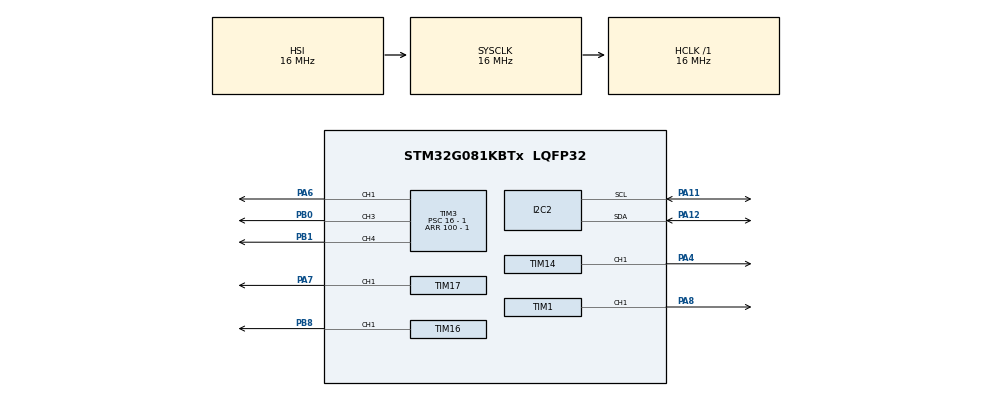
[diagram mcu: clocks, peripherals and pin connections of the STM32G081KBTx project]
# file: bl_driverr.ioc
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Mcu.Family=STM32G0
Mcu.Name=STM32G081KBTx
Mcu.Package=LQFP32
NVIC.I2C2_IRQn=true\:0\:0\:false\:false\:true\:true\:true\:true
NVIC.TIM14_IRQn=true\:0\:0\:false\:false\:true\:true\:true\:true
NVIC.TIM16_IRQn=true\:0\:0\:false\:false\:true\:true\:true\:true
NVIC.TIM17_IRQn=true\:0\:0\:false\:false\:true\:true\:true\:true
NVIC.TIM1_BRK_UP_TRG_COM_IRQn=true\:0\:0\:false\:false\:true\:true\:true\:true
NVIC.TIM1_CC_IRQn=true\:0\:0\:false\:false\:true\:true\:true\:true
NVIC.TIM3_IRQn=true\:0\:0\:false\:false\:true\:true\:true\:true
PA11\ [PA9].Mode=I2C
PA11\ [PA9].Signal=I2C2_SCL
PA12\ [PA10].Mode=I2C
PA12\ [PA10].Signal=I2C2_SDA
PA4.Signal=S_TIM14_CH1
PA6.Signal=S_TIM3_CH1
PA7.Signal=S_TIM17_CH1
PA8.Signal=S_TIM1_CH1
PB0.Signal=S_TIM3_CH3
PB1.Signal=S_TIM3_CH4
PB8.Signal=S_TIM16_CH1
ProjectManager.HeapSize=0x200
ProjectManager.StackSize=0x400
ProjectManager.TargetToolchain=STM32CubeIDE
RCC.AHBFreq_Value=16000000
RCC.CortexFreq_Value=16000000
RCC.EXTERNAL_CLOCK_VALUE=48000
RCC.HCLKFreq_Value=16000000
RCC.HSE_VALUE=8000000
RCC.HSI_VALUE=16000000
RCC.LSE_VALUE=32768
RCC.SYSCLKFreq_VALUE=16000000
RCC.VCOOutputFreq_Value=128000000
SH.S_TIM14_CH1.0=TIM14_CH1,PWM Generation1 CH1
SH.S_TIM16_CH1.0=TIM16_CH1,PWM Generation1 CH1
SH.S_TIM17_CH1.0=TIM17_CH1,PWM Generation1 CH1
SH.S_TIM1_CH1.0=TIM1_CH1,PWM Generation1 CH1
SH.S_TIM3_CH1.0=TIM3_CH1,PWM Generation1 CH1
SH.S_TIM3_CH3.0=TIM3_CH3,PWM Generation3 CH3
SH.S_TIM3_CH4.0=TIM3_CH4,PWM Generation4 CH4
TIM1.Channel-PWM\ Generation1\ CH1=TIM_CHANNEL_1
TIM1.Period=100 - 1
TIM1.Prescaler=16 - 1
TIM1.Pulse-PWM\ Generation1\ CH1=60
TIM14.Channel=TIM_CHANNEL_1
TIM14.Period=100 - 1
TIM14.Prescaler=16 - 1
TIM14.Pulse=20
TIM16.Channel=TIM_CHANNEL_1
TIM16.Period=100 - 1
TIM16.Prescaler=16 - 1
TIM16.Pulse=40
TIM17.Channel=TIM_CHANNEL_1
TIM17.Period=100 - 1
TIM17.Prescaler=16 - 1
TIM17.Pulse=30
TIM3.Channel-PWM\ Generation1\ CH1=TIM_CHANNEL_1
TIM3.Channel-PWM\ Generation3\ CH3=TIM_CHANNEL_3
TIM3.Channel-PWM\ Generation4\ CH4=TIM_CHANNEL_4
TIM3.Period=100 - 1
TIM3.Prescaler=16 - 1
TIM3.Pulse-PWM\ Generation1\ CH1=50
TIM3.Pulse-PWM\ Generation3\ CH3=80
TIM3.Pulse-PWM\ Generation4\ CH4=90
VP_TIM14_VS_ClockSourceINT.Mode=Enable_Timer
VP_TIM16_VS_ClockSourceINT.Mode=Enable_Timer
VP_TIM17_VS_ClockSourceINT.Mode=Enable_Timer
VP_TIM1_VS_ClockSourceINT.Mode=Internal
VP_TIM3_VS_ClockSourceINT.Mode=Internal
board=custom

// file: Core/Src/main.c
/* USER CODE BEGIN Header */
/**
  ******************************************************************************
  * @file           : main.c
  * @brief          : Main program body
  ******************************************************************************
  * @attention
  *
  * Copyright (c) 2023 STMicroelectronics.
  * All rights reserved.
  *
  * This software is licensed under terms that can be found in the LICENSE file
  * in the root directory of this software component.
  * If no LICENSE file comes with this software, it is provided AS-IS.
  *
  ******************************************************************************
  */
/* USER CODE END Header */
#include "main.h"

I2C_HandleTypeDef hi2c2;

TIM_HandleTypeDef htim1;
TIM_HandleTypeDef htim3;
TIM_HandleTypeDef htim14;
TIM_HandleTypeDef htim16;
TIM_HandleTypeDef htim17;

/* USER CODE BEGIN PV */
uint8_t ina_u4_config[3];
uint8_t ina_u4_shunt_reg = 0x01;
uint8_t ina_u4_bus_reg = 0x02;
uint8_t ina_u1_config[3];
uint8_t ina219_config[3];
uint8_t ina_u1_shunt_reg = 0x01;
uint8_t ina_u1_bus_reg = 0x02;
uint8_t isl_config[3];
uint8_t isl_shunt_reg = 0x01;
uint8_t isl_bus_reg = 0x02;
uint8_t rxData[2];
uint8_t rxData2[2];
uint8_t rxData3[2];
uint8_t rxData4[2];
uint8_t rxData5[2];
uint8_t rxData6[2];
uint8_t ID = 0x87; // register addr
uint8_t config = 0x00; // register addr
uint8_t shunt = 0x06; // register addr
uint8_t shunt_ina219 = 0x01;
uint8_t bus_ina219 = 0x02;
uint8_t power_ina219 = 0x03;
uint8_t current_ina219 = 0x04;
uint8_t current_fs;
uint8_t current_lsb;
uint8_t power_lsb;
uint8_t r_shunt = 0.1;
int cal;
#define U4_ADDRESS 0x41 // INA3221
#define U1_ADDRESS 0x44 // INA219BID
#define U2_ADDRESS 0x40 // INA3221
#define U3_ADDRESS 0x45 // ISL28022
#define ADDRESS 0x29 // LTR
uint16_t raw_shunt_Value;
uint16_t raw_bus_Value;
uint16_t ina_u4_raw_shunt_Value;
uint16_t ina_u4_raw_bus_Value;
uint16_t ina_u1_raw_shunt_Value;
uint16_t ina_u1_raw_bus_Value;
uint16_t ina219_raw_shunt;
uint16_t ina219_shunt_value;
uint16_t ina219_raw_bus;
uint16_t ina219_bus_value;
uint16_t ina219_raw_power;
uint16_t ina219_power_value;
uint16_t ina219_raw_current;
uint16_t ina219_current_value;
uint16_t ina219_currentDivider_mA = 33;    // Current LSB = 30uA per bit
uint16_t ina219_powerMultiplier_mW = 0.66f; // Power LSB = 666uW per bit
/* USER CODE END PV */

void SystemClock_Config(void);
static void MX_GPIO_Init(void);
static void MX_TIM1_Init(void);
static void MX_TIM3_Init(void);
static void MX_TIM14_Init(void);
static void MX_TIM16_Init(void);
static void MX_TIM17_Init(void);
static void MX_I2C2_Init(void);

/* USER CODE BEGIN 0 */

void ina219_calibration()
{
	int max_expected_current = 1; // 1 Amper.
	// adjusting configuration pin
	ina219_config[0] = 0x00;
	ina219_config[1] = 0x39;
	ina219_config[2] = 0x9F;
	HAL_I2C_Master_Transmit(&hi2c2, U1_ADDRESS << 1, ina219_config, 3, HAL_MAX_DELAY);
	current_lsb = max_expected_current / 32767; // max_expected / 2^15.
	power_lsb = current_lsb * 20;
	cal = 0.04096 / (current_lsb * r_shunt); // 13430
	HAL_I2C_Mem_Write(&hi2c2, U1_ADDRESS, 0x05, 2, cal, 2, HAL_MAX_DELAY); // write to calibration register to operate current and power registers.
}

void ina219_reading()
{
	//reading shunt voltage
	HAL_I2C_Master_Transmit(&hi2c2, U1_ADDRESS << 1, &shunt_ina219, 1, HAL_MAX_DELAY);
	HAL_I2C_Master_Receive(&hi2c2, U1_ADDRESS << 1, &ina219_raw_shunt, 2, HAL_MAX_DELAY);
	ina219_shunt_value = 0.01 * ina219_raw_shunt; // mV.

	// reading bus voltage
	HAL_I2C_Master_Transmit(&hi2c2, U1_ADDRESS << 1, &bus_ina219, 1, HAL_MAX_DELAY);
	HAL_I2C_Master_Receive(&hi2c2, U1_ADDRESS << 1, &ina219_raw_bus, 2, HAL_MAX_DELAY);
	ina219_bus_value = (ina219_raw_bus >> 3) * 4;
	ina219_bus_value = ina219_bus_value * 0.001; // V.

	// reading power
	HAL_I2C_Master_Transmit(&hi2c2, U1_ADDRESS << 1, &power_ina219, 1, HAL_MAX_DELAY);
	HAL_I2C_Master_Receive(&hi2c2, U1_ADDRESS << 1, &ina219_raw_power, 2, HAL_MAX_DELAY);
	ina219_power_value = ina219_powerMultiplier_mW * ina219_raw_power; //mW.

	// reading current
	HAL_I2C_Master_Transmit(&hi2c2, U1_ADDRESS << 1, &current_ina219, 1, HAL_MAX_DELAY);
	HAL_I2C_Master_Receive(&hi2c2, U1_ADDRESS << 1, &ina219_raw_current, 2, HAL_MAX_DELAY);
	ina219_current_value =  ina219_raw_power / ina219_currentDivider_mA; // mA.
}

/* USER CODE END 0 */

int main(void)
{

  /* MCU Configuration--------------------------------------------------------*/

  /* Reset of all peripherals, Initializes the Flash interface and the Systick. */
  HAL_Init();

  /* Configure the system clock */
  SystemClock_Config();

  /* Initialize all configured peripherals */
  MX_GPIO_Init();
  MX_TIM1_Init();
  MX_TIM3_Init();
  MX_TIM14_Init();
  MX_TIM16_Init();
  MX_TIM17_Init();
  MX_I2C2_Init();
  /* USER CODE BEGIN 2 */
  HAL_TIM_PWM_Start(&htim1, TIM_CHANNEL_1);
  HAL_TIM_PWM_Start(&htim3, TIM_CHANNEL_1);
  HAL_TIM_PWM_Start(&htim3, TIM_CHANNEL_3);
  HAL_TIM_PWM_Start(&htim3, TIM_CHANNEL_4);
  HAL_TIM_PWM_Start(&htim14, TIM_CHANNEL_1);
  HAL_TIM_PWM_Start(&htim16, TIM_CHANNEL_1);
  HAL_TIM_PWM_Start(&htim17, TIM_CHANNEL_1);
  //---------------------------------------

  /* USER CODE END 2 */

  /* Infinite loop */
  /* USER CODE BEGIN WHILE */
  while (1)
  {
	//  ina219_calibration();
	// ina219_reading();

	  // LTR
	  HAL_I2C_Master_Transmit(&hi2c2, ADDRESS << 1, &ID, 1, HAL_MAX_DELAY);
	  HAL_I2C_Master_Receive(&hi2c2, ADDRESS << 1, rxData, 2, HAL_MAX_DELAY);
	  //U4
	  //HAL_I2C_Master_Transmit(&hi2c2, ADDRESS << 1, &ID, 1, HAL_MAX_DELAY);
	  //HAL_I2C_Master_Receive(&hi2c2, ADDRESS << 1, rxData, 2, HAL_MAX_DELAY);

	  //U1
	  //HAL_I2C_Master_Transmit(&hi2c2, ADDRESS << 1, &ID, 1, HAL_MAX_DELAY);
	  //HAL_I2C_Master_Receive(&hi2c2, ADDRESS << 1, rxData, 2, HAL_MAX_DELAY);

	  //U2
	  //HAL_I2C_Master_Transmit(&hi2c2, U1_ADDRESS << 1, &config, 1, HAL_MAX_DELAY);
	  //HAL_I2C_Master_Receive(&hi2c2, U1_ADDRESS << 1, rxData, 2, HAL_MAX_DELAY);

	  //U1
	//  HAL_I2C_Master_Transmit(&hi2c2, U3_ADDRESS << 1, &shunt, 1, HAL_MAX_DELAY);
	 // HAL_I2C_Master_Receive(&hi2c2, U3_ADDRESS << 1, rxData, 2, HAL_MAX_DELAY);

	//  rawValue = (rxData[0] << 8) | rxData[1];
    /* USER CODE END WHILE */

  }
}

void SystemClock_Config(void)
{
  RCC_OscInitTypeDef RCC_OscInitStruct = {0};
  RCC_ClkInitTypeDef RCC_ClkInitStruct = {0};

  /** Configure the main internal regulator output voltage
  */
  HAL_PWREx_ControlVoltageScaling(PWR_REGULATOR_VOLTAGE_SCALE1);

  /** Initializes the RCC Oscillators according to the specified parameters
  * in the RCC_OscInitTypeDef structure.
  */
  RCC_OscInitStruct.OscillatorType = RCC_OSCILLATORTYPE_HSI;
  RCC_OscInitStruct.HSIState = RCC_HSI_ON;
  RCC_OscInitStruct.HSIDiv = RCC_HSI_DIV1;
  RCC_OscInitStruct.HSICalibrationValue = RCC_HSICALIBRATION_DEFAULT;
  RCC_OscInitStruct.PLL.PLLState = RCC_PLL_NONE;
  if (HAL_RCC_OscConfig(&RCC_OscInitStruct) != HAL_OK)
  {
    Error_Handler();
  }

  /** Initializes the CPU, AHB and APB buses clocks
  */
  RCC_ClkInitStruct.ClockType = RCC_CLOCKTYPE_HCLK|RCC_CLOCKTYPE_SYSCLK
                              |RCC_CLOCKTYPE_PCLK1;
  RCC_ClkInitStruct.SYSCLKSource = RCC_SYSCLKSOURCE_HSI;
  RCC_ClkInitStruct.AHBCLKDivider = RCC_SYSCLK_DIV1;
  RCC_ClkInitStruct.APB1CLKDivider = RCC_HCLK_DIV1;

  if (HAL_RCC_ClockConfig(&RCC_ClkInitStruct, FLASH_LATENCY_0) != HAL_OK)
  {
    Error_Handler();
  }
}

static void MX_I2C2_Init(void)
{

  hi2c2.Instance = I2C2;
  hi2c2.Init.Timing = 0x00303D5B;
  hi2c2.Init.OwnAddress1 = 0;
  hi2c2.Init.AddressingMode = I2C_ADDRESSINGMODE_7BIT;
  hi2c2.Init.DualAddressMode = I2C_DUALADDRESS_DISABLE;
  hi2c2.Init.OwnAddress2 = 0;
  hi2c2.Init.OwnAddress2Masks = I2C_OA2_NOMASK;
  hi2c2.Init.GeneralCallMode = I2C_GENERALCALL_DISABLE;
  hi2c2.Init.NoStretchMode = I2C_NOSTRETCH_DISABLE;
  if (HAL_I2C_Init(&hi2c2) != HAL_OK)
  {
    Error_Handler();
  }

  /** Configure Analogue filter
  */
  if (HAL_I2CEx_ConfigAnalogFilter(&hi2c2, I2C_ANALOGFILTER_ENABLE) != HAL_OK)
  {
    Error_Handler();
  }

  /** Configure Digital filter
  */
  if (HAL_I2CEx_ConfigDigitalFilter(&hi2c2, 0) != HAL_OK)
  {
    Error_Handler();
  }

}

static void MX_TIM1_Init(void)
{

  TIM_ClockConfigTypeDef sClockSourceConfig = {0};
  TIM_MasterConfigTypeDef sMasterConfig = {0};
  TIM_OC_InitTypeDef sConfigOC = {0};
  TIM_BreakDeadTimeConfigTypeDef sBreakDeadTimeConfig = {0};

  htim1.Instance = TIM1;
  htim1.Init.Prescaler = 16 - 1;
  htim1.Init.CounterMode = TIM_COUNTERMODE_UP;
  htim1.Init.Period = 100 - 1;
  htim1.Init.ClockDivision = TIM_CLOCKDIVISION_DIV1;
  htim1.Init.RepetitionCounter = 0;
  htim1.Init.AutoReloadPreload = TIM_AUTORELOAD_PRELOAD_DISABLE;
  if (HAL_TIM_Base_Init(&htim1) != HAL_OK)
  {
    Error_Handler();
  }
  sClockSourceConfig.ClockSource = TIM_CLOCKSOURCE_INTERNAL;
  if (HAL_TIM_ConfigClockSource(&htim1, &sClockSourceConfig) != HAL_OK)
  {
    Error_Handler();
  }
  if (HAL_TIM_PWM_Init(&htim1) != HAL_OK)
  {
    Error_Handler();
  }
  sMasterConfig.MasterOutputTrigger = TIM_TRGO_RESET;
  sMasterConfig.MasterOutputTrigger2 = TIM_TRGO2_RESET;
  sMasterConfig.MasterSlaveMode = TIM_MASTERSLAVEMODE_DISABLE;
  if (HAL_TIMEx_MasterConfigSynchronization(&htim1, &sMasterConfig) != HAL_OK)
  {
    Error_Handler();
  }
  sConfigOC.OCMode = TIM_OCMODE_PWM1;
  sConfigOC.Pulse = 60;
  sConfigOC.OCPolarity = TIM_OCPOLARITY_HIGH;
  sConfigOC.OCNPolarity = TIM_OCNPOLARITY_HIGH;
  sConfigOC.OCFastMode = TIM_OCFAST_DISABLE;
  sConfigOC.OCIdleState = TIM_OCIDLESTATE_RESET;
  sConfigOC.OCNIdleState = TIM_OCNIDLESTATE_RESET;
  if (HAL_TIM_PWM_ConfigChannel(&htim1, &sConfigOC, TIM_CHANNEL_1) != HAL_OK)
  {
    Error_Handler();
  }
  sBreakDeadTimeConfig.OffStateRunMode = TIM_OSSR_DISABLE;
  sBreakDeadTimeConfig.OffStateIDLEMode = TIM_OSSI_DISABLE;
  sBreakDeadTimeConfig.LockLevel = TIM_LOCKLEVEL_OFF;
  sBreakDeadTimeConfig.DeadTime = 0;
  sBreakDeadTimeConfig.BreakState = TIM_BREAK_DISABLE;
  sBreakDeadTimeConfig.BreakPolarity = TIM_BREAKPOLARITY_HIGH;
  sBreakDeadTimeConfig.BreakFilter = 0;
  sBreakDeadTimeConfig.BreakAFMode = TIM_BREAK_AFMODE_INPUT;
  sBreakDeadTimeConfig.Break2State = TIM_BREAK2_DISABLE;
  sBreakDeadTimeConfig.Break2Polarity = TIM_BREAK2POLARITY_HIGH;
  sBreakDeadTimeConfig.Break2Filter = 0;
  sBreakDeadTimeConfig.Break2AFMode = TIM_BREAK_AFMODE_INPUT;
  sBreakDeadTimeConfig.AutomaticOutput = TIM_AUTOMATICOUTPUT_DISABLE;
  if (HAL_TIMEx_ConfigBreakDeadTime(&htim1, &sBreakDeadTimeConfig) != HAL_OK)
  {
    Error_Handler();
  }
  HAL_TIM_MspPostInit(&htim1);

}

static void MX_TIM3_Init(void)
{

  TIM_ClockConfigTypeDef sClockSourceConfig = {0};
  TIM_MasterConfigTypeDef sMasterConfig = {0};
  TIM_OC_InitTypeDef sConfigOC = {0};

  htim3.Instance = TIM3;
  htim3.Init.Prescaler = 16 - 1;
  htim3.Init.CounterMode = TIM_COUNTERMODE_UP;
  htim3.Init.Period = 100 - 1;
  htim3.Init.ClockDivision = TIM_CLOCKDIVISION_DIV1;
  htim3.Init.AutoReloadPreload = TIM_AUTORELOAD_PRELOAD_DISABLE;
  if (HAL_TIM_Base_Init(&htim3) != HAL_OK)
  {
    Error_Handler();
  }
  sClockSourceConfig.ClockSource = TIM_CLOCKSOURCE_INTERNAL;
  if (HAL_TIM_ConfigClockSource(&htim3, &sClockSourceConfig) != HAL_OK)
  {
    Error_Handler();
  }
  if (HAL_TIM_PWM_Init(&htim3) != HAL_OK)
  {
    Error_Handler();
  }
  sMasterConfig.MasterOutputTrigger = TIM_TRGO_RESET;
  sMasterConfig.MasterSlaveMode = TIM_MASTERSLAVEMODE_DISABLE;
  if (HAL_TIMEx_MasterConfigSynchronization(&htim3, &sMasterConfig) != HAL_OK)
  {
    Error_Handler();
  }
  sConfigOC.OCMode = TIM_OCMODE_PWM1;
  sConfigOC.Pulse = 50;
  sConfigOC.OCPolarity = TIM_OCPOLARITY_HIGH;
  sConfigOC.OCFastMode = TIM_OCFAST_DISABLE;
  if (HAL_TIM_PWM_ConfigChannel(&htim3, &sConfigOC, TIM_CHANNEL_1) != HAL_OK)
  {
    Error_Handler();
  }
  sConfigOC.Pulse = 80;
  if (HAL_TIM_PWM_ConfigChannel(&htim3, &sConfigOC, TIM_CHANNEL_3) != HAL_OK)
  {
    Error_Handler();
  }
  sConfigOC.Pulse = 90;
  if (HAL_TIM_PWM_ConfigChannel(&htim3, &sConfigOC, TIM_CHANNEL_4) != HAL_OK)
  {
    Error_Handler();
  }
  HAL_TIM_MspPostInit(&htim3);

}

static void MX_TIM14_Init(void)
{

  TIM_OC_InitTypeDef sConfigOC = {0};

  htim14.Instance = TIM14;
  htim14.Init.Prescaler = 16 - 1;
  htim14.Init.CounterMode = TIM_COUNTERMODE_UP;
  htim14.Init.Period = 100 - 1;
  htim14.Init.ClockDivision = TIM_CLOCKDIVISION_DIV1;
  htim14.Init.AutoReloadPreload = TIM_AUTORELOAD_PRELOAD_DISABLE;
  if (HAL_TIM_Base_Init(&htim14) != HAL_OK)
  {
    Error_Handler();
  }
  if (HAL_TIM_PWM_Init(&htim14) != HAL_OK)
  {
    Error_Handler();
  }
  sConfigOC.OCMode = TIM_OCMODE_PWM1;
  sConfigOC.Pulse = 20;
  sConfigOC.OCPolarity = TIM_OCPOLARITY_HIGH;
  sConfigOC.OCFastMode = TIM_OCFAST_DISABLE;
  if (HAL_TIM_PWM_ConfigChannel(&htim14, &sConfigOC, TIM_CHANNEL_1) != HAL_OK)
  {
    Error_Handler();
  }
  HAL_TIM_MspPostInit(&htim14);

}

static void MX_TIM16_Init(void)
{

  TIM_OC_InitTypeDef sConfigOC = {0};
  TIM_BreakDeadTimeConfigTypeDef sBreakDeadTimeConfig = {0};

  htim16.Instance = TIM16;
  htim16.Init.Prescaler = 16 - 1;
  htim16.Init.CounterMode = TIM_COUNTERMODE_UP;
  htim16.Init.Period = 100 - 1;
  htim16.Init.ClockDivision = TIM_CLOCKDIVISION_DIV1;
  htim16.Init.RepetitionCounter = 0;
  htim16.Init.AutoReloadPreload = TIM_AUTORELOAD_PRELOAD_DISABLE;
  if (HAL_TIM_Base_Init(&htim16) != HAL_OK)
  {
    Error_Handler();
  }
  if (HAL_TIM_PWM_Init(&htim16) != HAL_OK)
  {
    Error_Handler();
  }
  sConfigOC.OCMode = TIM_OCMODE_PWM1;
  sConfigOC.Pulse = 40;
  sConfigOC.OCPolarity = TIM_OCPOLARITY_HIGH;
  sConfigOC.OCNPolarity = TIM_OCNPOLARITY_HIGH;
  sConfigOC.OCFastMode = TIM_OCFAST_DISABLE;
  sConfigOC.OCIdleState = TIM_OCIDLESTATE_RESET;
  sConfigOC.OCNIdleState = TIM_OCNIDLESTATE_RESET;
  if (HAL_TIM_PWM_ConfigChannel(&htim16, &sConfigOC, TIM_CHANNEL_1) != HAL_OK)
  {
    Error_Handler();
  }
  sBreakDeadTimeConfig.OffStateRunMode = TIM_OSSR_DISABLE;
  sBreakDeadTimeConfig.OffStateIDLEMode = TIM_OSSI_DISABLE;
  sBreakDeadTimeConfig.LockLevel = TIM_LOCKLEVEL_OFF;
  sBreakDeadTimeConfig.DeadTime = 0;
  sBreakDeadTimeConfig.BreakState = TIM_BREAK_DISABLE;
  sBreakDeadTimeConfig.BreakPolarity = TIM_BREAKPOLARITY_HIGH;
  sBreakDeadTimeConfig.BreakFilter = 0;
  sBreakDeadTimeConfig.AutomaticOutput = TIM_AUTOMATICOUTPUT_DISABLE;
  if (HAL_TIMEx_ConfigBreakDeadTime(&htim16, &sBreakDeadTimeConfig) != HAL_OK)
  {
    Error_Handler();
  }
  HAL_TIM_MspPostInit(&htim16);

}

static void MX_TIM17_Init(void)
{

  TIM_OC_InitTypeDef sConfigOC = {0};
  TIM_BreakDeadTimeConfigTypeDef sBreakDeadTimeConfig = {0};

  htim17.Instance = TIM17;
  htim17.Init.Prescaler = 16 - 1;
  htim17.Init.CounterMode = TIM_COUNTERMODE_UP;
  htim17.Init.Period = 100 - 1;
  htim17.Init.ClockDivision = TIM_CLOCKDIVISION_DIV1;
  htim17.Init.RepetitionCounter = 0;
  htim17.Init.AutoReloadPreload = TIM_AUTORELOAD_PRELOAD_DISABLE;
  if (HAL_TIM_Base_Init(&htim17) != HAL_OK)
  {
    Error_Handler();
  }
  if (HAL_TIM_PWM_Init(&htim17) != HAL_OK)
  {
    Error_Handler();
  }
  sConfigOC.OCMode = TIM_OCMODE_PWM1;
  sConfigOC.Pulse = 30;
  sConfigOC.OCPolarity = TIM_OCPOLARITY_HIGH;
  sConfigOC.OCNPolarity = TIM_OCNPOLARITY_HIGH;
  sConfigOC.OCFastMode = TIM_OCFAST_DISABLE;
  sConfigOC.OCIdleState = TIM_OCIDLESTATE_RESET;
  sConfigOC.OCNIdleState = TIM_OCNIDLESTATE_RESET;
  if (HAL_TIM_PWM_ConfigChannel(&htim17, &sConfigOC, TIM_CHANNEL_1) != HAL_OK)
  {
    Error_Handler();
  }
  sBreakDeadTimeConfig.OffStateRunMode = TIM_OSSR_DISABLE;
  sBreakDeadTimeConfig.OffStateIDLEMode = TIM_OSSI_DISABLE;
  sBreakDeadTimeConfig.LockLevel = TIM_LOCKLEVEL_OFF;
  sBreakDeadTimeConfig.DeadTime = 0;
  sBreakDeadTimeConfig.BreakState = TIM_BREAK_DISABLE;
  sBreakDeadTimeConfig.BreakPolarity = TIM_BREAKPOLARITY_HIGH;
  sBreakDeadTimeConfig.BreakFilter = 0;
  sBreakDeadTimeConfig.AutomaticOutput = TIM_AUTOMATICOUTPUT_DISABLE;
  if (HAL_TIMEx_ConfigBreakDeadTime(&htim17, &sBreakDeadTimeConfig) != HAL_OK)
  {
    Error_Handler();
  }
  HAL_TIM_MspPostInit(&htim17);

}

static void MX_GPIO_Init(void)
{

  /* GPIO Ports Clock Enable */
  __HAL_RCC_GPIOA_CLK_ENABLE();
  __HAL_RCC_GPIOB_CLK_ENABLE();

}

void Error_Handler(void)
{
  __disable_irq();
  while (1)
  {
  }
}
